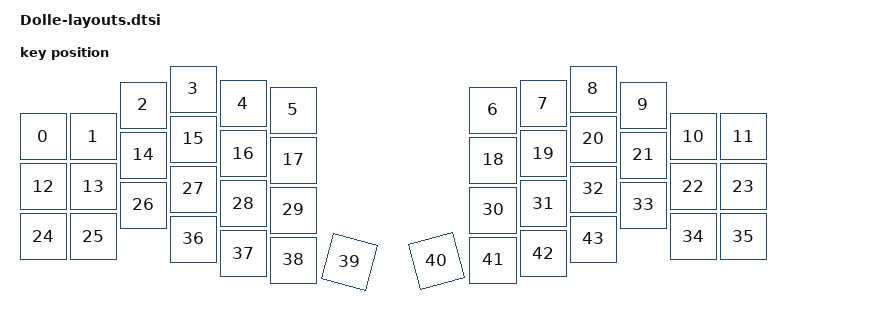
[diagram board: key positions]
/ {
    physical_layout0: physical_layout_0 {
        compatible = "zmk,physical-layout";
        display-name = "Default Layout";
        kscan = <&kscan0>;
        transform = <&default_transform>;

        keys  //                     w   h    x    y     rot    rx    ry
            = <&key_physical_attrs 100 100    0   95       0     0     0>
            , <&key_physical_attrs 100 100  100   95       0     0     0>
            , <&key_physical_attrs 100 100  200   32       0     0     0>
            , <&key_physical_attrs 100 100  300    0       0     0     0>
            , <&key_physical_attrs 100 100  400   29       0     0     0>
            , <&key_physical_attrs 100 100  500   42       0     0     0>
            , <&key_physical_attrs 100 100  900   42       0     0     0>
            , <&key_physical_attrs 100 100 1000   29       0     0     0>
            , <&key_physical_attrs 100 100 1100    0       0     0     0>
            , <&key_physical_attrs 100 100 1200   32       0     0     0>
            , <&key_physical_attrs 100 100 1300   95       0     0     0>
            , <&key_physical_attrs 100 100 1400   95       0     0     0>
            , <&key_physical_attrs 100 100    0  195       0     0     0>
            , <&key_physical_attrs 100 100  100  195       0     0     0>
            , <&key_physical_attrs 100 100  200  132       0     0     0>
            , <&key_physical_attrs 100 100  300  100       0     0     0>
            , <&key_physical_attrs 100 100  400  129       0     0     0>
            , <&key_physical_attrs 100 100  500  142       0     0     0>
            , <&key_physical_attrs 100 100  900  142       0     0     0>
            , <&key_physical_attrs 100 100 1000  129       0     0     0>
            , <&key_physical_attrs 100 100 1100  100       0     0     0>
            , <&key_physical_attrs 100 100 1200  132       0     0     0>
            , <&key_physical_attrs 100 100 1300  195       0     0     0>
            , <&key_physical_attrs 100 100 1400  195       0     0     0>
            , <&key_physical_attrs 100 100    0  295       0     0     0>
            , <&key_physical_attrs 100 100  100  295       0     0     0>
            , <&key_physical_attrs 100 100  200  232       0     0     0>
            , <&key_physical_attrs 100 100  300  200       0     0     0>
            , <&key_physical_attrs 100 100  400  229       0     0     0>
            , <&key_physical_attrs 100 100  500  242       0     0     0>
            , <&key_physical_attrs 100 100  900  242       0     0     0>
            , <&key_physical_attrs 100 100 1000  229       0     0     0>
            , <&key_physical_attrs 100 100 1100  200       0     0     0>
            , <&key_physical_attrs 100 100 1200  232       0     0     0>
            , <&key_physical_attrs 100 100 1300  295       0     0     0>
            , <&key_physical_attrs 100 100 1400  295       0     0     0>
            , <&key_physical_attrs 100 100  300  300       0     0     0>
            , <&key_physical_attrs 100 100  400  329       0     0     0>
            , <&key_physical_attrs 100 100  500  342       0     0     0>
            , <&key_physical_attrs 100 100  600  342    1500   640   442>
            , <&key_physical_attrs 100 100  800  342 (-1500)   850   442>
            , <&key_physical_attrs 100 100  900  342       0     0     0>
            , <&key_physical_attrs 100 100 1000  329       0     0     0>
            , <&key_physical_attrs 100 100 1100  300       0     0     0>
            ;
};
